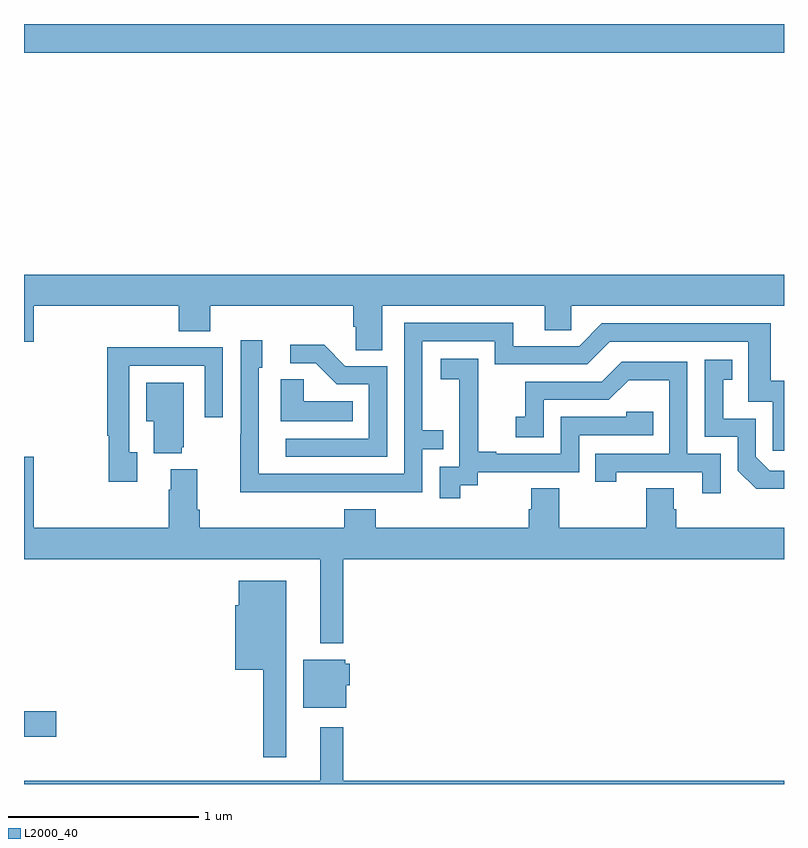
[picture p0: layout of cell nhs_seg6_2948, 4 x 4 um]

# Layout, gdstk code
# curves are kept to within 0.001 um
import gdstk
lib = gdstk.Library(unit=1e-6, precision=1e-09)
def R(c, l, rs):  # rectangles x0, y0, x1, y1
    for r in rs: c.add(gdstk.rectangle(r[:2], r[2:], *l))
def P(c, l, *ps):  # polygons
    for p in ps: c.add(gdstk.Polygon(p, *l))
L2000_40 = (2000, 40)

nhs_seg6_2948 = lib.new_cell('nhs_seg6_2948')
R(nhs_seg6_2948, L2000_40, [(285,931.748,285.169,931.883), (285,935.348,289,935.5)])
P(nhs_seg6_2948, L2000_40, [(286.885,934.016),(287.741,934.016),(287.741,933.889),(287.88,933.889),(287.88,934.016),(289,934.016),(289,934.18),(285,934.18),(285,933.828),(285.052,933.828),(285.052,934.016),(285.815,934.016),(285.815,933.883),(285.98,933.883),(285.98,934.016),(286.733,934.016),(286.733,933.907),(286.746,933.907),(286.746,933.784),(286.885,933.784)],
  [(286.601,933.036),(287.097,933.036),(287.097,933.261),(287.207,933.261),(287.207,933.362),(287.097,933.362),(287.097,933.831),(287.478,933.831),(287.478,933.708),(287.964,933.708),(288.084,933.828),(288.813,933.828),(288.813,933.513),(288.942,933.513),(288.942,933.255),(289,933.255),(289,933.622),(288.929,933.622),(288.929,933.924),(288.042,933.924),(287.922,933.804),(287.575,933.804),(287.575,933.927),(287.001,933.927),(287.001,933.132),(286.236,933.132),(286.236,933.69),(286.255,933.69),(286.255,933.835),(286.14,933.835),(286.14,933.341),(286.138,933.341),(286.138,933.035)],
  [(286.911,933.699),(286.692,933.699),(286.579,933.812),(286.401,933.812),(286.401,933.714),(286.535,933.714),(286.646,933.603),(286.815,933.603),(286.815,933.318),(286.377,933.318),(286.377,933.222),(286.911,933.222)],
  [(285.595,933.246),(285.555,933.246),(285.555,933.702),(285.951,933.702),(285.951,933.429),(286.047,933.429),(286.047,933.798),(285.731,933.798),(285.731,933.8),(285.439,933.8),(285.439,933.334),(285.447,933.334),(285.447,933.09),(285.595,933.09)],
  [(287.296,933.073),(287.388,933.073),(287.388,933.141),(287.922,933.141),(287.922,933.336),(288.311,933.336),(288.311,933.459),(288.171,933.459),(288.171,933.432),(287.826,933.432),(287.826,933.237),(287.485,933.237),(287.485,933.25),(287.39,933.25),(287.39,933.533),(287.391,933.533),(287.391,933.739),(287.193,933.739),(287.193,933.629),(287.291,933.629),(287.291,933.401),(287.292,933.401),(287.292,933.171),(287.187,933.171),(287.187,933.003),(287.296,933.003)],
  [(289,933.15),(288.924,933.15),(288.852,933.222),(288.852,933.423),(288.679,933.423),(288.679,933.627),(288.728,933.627),(288.728,933.733),(288.582,933.733),(288.582,933.327),(288.756,933.327),(288.756,933.15),(288.854,933.053),(289,933.053)],
  [(288.666,933.237),(288.492,933.237),(288.492,933.723),(288.146,933.723),(288.041,933.618),(287.638,933.618),(287.638,933.433),(287.589,933.433),(287.589,933.324),(287.736,933.324),(287.736,933.522),(288.078,933.522),(288.182,933.626),(288.396,933.626),(288.396,933.237),(288.007,933.237),(288.007,933.09),(288.118,933.09),(288.118,933.141),(288.569,933.141),(288.569,933.03),(288.666,933.03)],
  [(286.73,933.514),(286.473,933.514),(286.473,933.629),(286.352,933.629),(286.352,933.41),(286.73,933.41)],
  [(285.83,933.273),(285.841,933.273),(285.841,933.613),(285.644,933.613),(285.644,933.41),(285.683,933.41),(285.683,933.242),(285.83,933.242)],
  [(285.926,932.944),(285.913,932.944),(285.913,933.157),(285.773,933.157),(285.773,933.05),(285.761,933.05),(285.761,932.848),(285.052,932.848),(285.052,933.223),(285,933.223),(285,932.684),(286.559,932.684),(286.559,932.24),(286.681,932.24),(286.681,932.684),(289,932.684),(289,932.848),(288.434,932.848),(288.434,932.946),(288.421,932.946),(288.421,933.056),(288.274,933.056),(288.274,932.848),(287.817,932.848),(287.817,933.056),(287.669,933.056),(287.669,932.946),(287.657,932.946),(287.657,932.848),(286.85,932.848),(286.85,932.947),(286.685,932.947),(286.685,932.848),(285.926,932.848)],
  [(286.381,932.569),(286.13,932.569),(286.13,932.442),(286.112,932.442),(286.112,932.102),(286.26,932.102),(286.26,931.641),(286.381,931.641)],
  [(286.696,932.019),(286.714,932.019),(286.714,932.133),(286.692,932.133),(286.692,932.155),(286.469,932.155),(286.469,931.901),(286.696,931.901)],
  [(289,931.516),(286.681,931.516),(286.681,931.798),(286.559,931.798),(286.559,931.516),(285,931.516),(285,931.5),(289,931.5)])

lib.write_gds('nhs_seg6_2948.gds')
